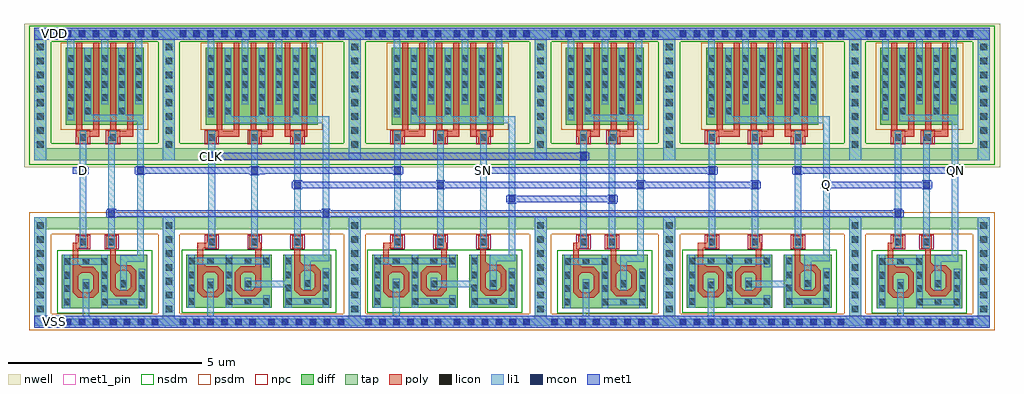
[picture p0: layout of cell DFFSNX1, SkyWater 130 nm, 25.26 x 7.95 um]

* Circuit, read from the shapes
.subckt DFFSNX1 CLK D Q QN SN VDD VSS
XM1 n1 D VSS VSS sky130_fd_pr__nfet_01v8 w=2.6 l=0.1464
XM2 n1 n2 n3 VSS sky130_fd_pr__nfet_01v8 w=2.56 l=0.1463
XM3 n4 CLK VSS VSS sky130_fd_pr__nfet_01v8 w=2.6 l=0.1464
XM4 n4 n3 n5 VSS sky130_fd_pr__nfet_01v8 w=2.52 l=0.1453
XM5 n5 n6 n2 VSS sky130_fd_pr__nfet_01v8 w=2.56 l=0.1459
XM6 n7 n3 VSS VSS sky130_fd_pr__nfet_01v8 w=2.6 l=0.1461
XM7 n7 n6 n8 VSS sky130_fd_pr__nfet_01v8 w=2.52 l=0.1453
XM8 n8 SN n9 VSS sky130_fd_pr__nfet_01v8 w=2.56 l=0.1459
XM9 n10 CLK VSS VSS sky130_fd_pr__nfet_01v8 w=2.6 l=0.1465
XM10 n10 n9 n6 VSS sky130_fd_pr__nfet_01v8 w=2.56 l=0.1461
XM11 n11 SN VSS VSS sky130_fd_pr__nfet_01v8 w=2.6 l=0.1464
XM12 n11 n6 n12 VSS sky130_fd_pr__nfet_01v8 w=2.52 l=0.1453
XM13 n12 QN Q VSS sky130_fd_pr__nfet_01v8 w=2.56 l=0.1459
XM14 n13 n2 VSS VSS sky130_fd_pr__nfet_01v8 w=2.6 l=0.1465
XM15 n13 Q QN VSS sky130_fd_pr__nfet_01v8 w=2.56 l=0.1461
XM16 n3 D VDD VDD sky130_fd_pr__pfet_01v8 w=2 l=0.15 m=2
XM17 n3 n2 VDD VDD sky130_fd_pr__pfet_01v8 w=2 l=0.15 m=2
XM18 n2 CLK VDD VDD sky130_fd_pr__pfet_01v8 w=2 l=0.15 m=2
XM19 n2 n3 VDD VDD sky130_fd_pr__pfet_01v8 w=2 l=0.15 m=2
XM20 n2 n6 VDD VDD sky130_fd_pr__pfet_01v8 w=2 l=0.15 m=2
XM21 n9 n3 VDD VDD sky130_fd_pr__pfet_01v8 w=2 l=0.15 m=2
XM22 n9 n6 VDD VDD sky130_fd_pr__pfet_01v8 w=2 l=0.15 m=2
XM23 n9 SN VDD VDD sky130_fd_pr__pfet_01v8 w=2 l=0.15 m=2
XM24 n6 CLK VDD VDD sky130_fd_pr__pfet_01v8 w=2 l=0.15 m=2
XM25 n6 n9 VDD VDD sky130_fd_pr__pfet_01v8 w=2 l=0.15 m=2
XM26 Q SN VDD VDD sky130_fd_pr__pfet_01v8 w=2 l=0.15 m=2
XM27 Q n6 VDD VDD sky130_fd_pr__pfet_01v8 w=2 l=0.15 m=2
XM28 Q QN VDD VDD sky130_fd_pr__pfet_01v8 w=2 l=0.15 m=2
XM29 QN n2 VDD VDD sky130_fd_pr__pfet_01v8 w=2 l=0.15 m=2
XM30 QN Q VDD VDD sky130_fd_pr__pfet_01v8 w=2 l=0.15 m=2
.ends

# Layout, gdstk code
import gdstk
lib = gdstk.Library(unit=1e-6, precision=1e-09)
def R(c, l, rs):  # rectangles x0, y0, x1, y1
    for r in rs: c.add(gdstk.rectangle(r[:2], r[2:], *l))
def A(c, l, x, y, w, h, nx, ny, dx, dy):  # array of equal rectangles
    R(c, l, [(x+i*dx, y+j*dy, x+i*dx+w, y+j*dy+h) for i in range(nx) for j in range(ny)])
def P(c, l, *ps):  # polygons
    for p in ps: c.add(gdstk.Polygon(p, *l))
nwell = (64, 20)
diff = (65, 20)
tap = (65, 44)
poly = (66, 20)
licon = (66, 44)
li1 = (67, 20)
mcon = (67, 44)
met1_pin = (68, 16)
met1 = (68, 20)
nsdm = (93, 44)
psdm = (94, 20)
npc = (95, 20)

dffsnx1 = lib.new_cell('DFFSNX1')
R(dffsnx1, nwell, [(-0.42,4.16,24.84,7.875)])
R(dffsnx1, diff, [(0.56,0.505,2.77,1.885), (13.51,0.505,15.72,1.885), (21.65,0.505,23.86,1.885), (3.785,0.515,5.995,1.895), (6.295,0.515,7.535,1.895), (8.595,0.515,10.805,1.895), (11.105,0.515,12.345,1.895), (16.735,0.515,18.945,1.895), (19.245,0.515,20.485,1.895), (0.655,5.25,2.675,7.25), (4.285,5.25,7.185,7.25), (9.095,5.25,11.995,7.25), (13.605,5.25,15.625,7.25), (17.235,5.25,20.135,7.25), (21.745,5.25,23.765,7.25)])
A(dffsnx1, tap, 3.175, 0.055, 0.31, 0.01, 3, 1, 4.81, 0)
A(dffsnx1, tap, 3.175, 0.235, 0.31, 2.315, 3, 1, 4.81, 0)
A(dffsnx1, tap, 3.175, 4.65, 0.31, 2.875, 3, 1, 4.81, 0)
R(dffsnx1, tap, [(-0.155,0.055,0.155,0.065), (16.125,0.055,16.435,0.065), (20.935,0.055,21.245,0.065), (24.265,0.055,24.575,0.065), (-0.155,0.065,24.575,0.235), (-0.155,0.235,0.155,2.55), (16.125,0.235,16.435,2.55), (20.935,0.235,21.245,2.55), (24.265,0.235,24.575,2.55), (-0.155,2.55,24.575,2.86), (-0.155,4.34,24.575,4.65), (-0.155,4.65,0.155,7.525), (16.125,4.65,16.435,7.525), (20.935,4.65,21.245,7.525), (24.265,4.65,24.575,7.525), (-0.155,7.525,24.575,7.695)])
A(dffsnx1, poly, 1.715, 2.055, 0.27, 0.33, 3, 1, 4.81, 0)
A(dffsnx1, poly, 4.305, 4.765, 0.27, 0.18, 3, 1, 1.11, 0)
A(dffsnx1, poly, 9.115, 4.765, 0.27, 0.18, 3, 1, 1.11, 0)
A(dffsnx1, poly, 17.255, 4.765, 0.27, 0.18, 3, 1, 1.11, 0)
A(dffsnx1, poly, 0.935, 5.095, 0.15, 2.285, 4, 1, 0.44, 0)
A(dffsnx1, poly, 4.565, 5.095, 0.15, 2.285, 6, 1, 0.44, 0)
A(dffsnx1, poly, 9.375, 5.095, 0.15, 2.285, 6, 1, 0.44, 0)
A(dffsnx1, poly, 13.885, 5.095, 0.15, 2.285, 4, 1, 0.44, 0)
A(dffsnx1, poly, 17.515, 5.095, 0.15, 2.285, 6, 1, 0.44, 0)
A(dffsnx1, poly, 22.025, 5.095, 0.15, 2.285, 4, 1, 0.44, 0)
R(dffsnx1, poly, [(0.99,0.775,1.37,0.925), (13.94,0.775,14.32,0.785), (22.08,0.775,22.46,0.785), (4.215,0.785,4.595,0.815), (9.025,0.785,9.405,0.82), (13.93,0.785,14.32,0.82), (17.165,0.785,17.545,0.815), (22.07,0.785,22.46,0.82), (1.96,0.815,2.34,0.965), (4.185,0.815,4.595,0.935), (14.91,0.815,15.29,0.965), (17.135,0.815,17.545,0.935), (23.05,0.815,23.43,0.965), (5.19,0.82,5.565,0.97), (8.99,0.82,9.405,0.825), (10,0.82,10.375,0.97), (13.895,0.82,14.32,0.825), (18.14,0.82,18.515,0.97), (22.035,0.82,22.46,0.825), (6.725,0.825,7.105,0.975), (8.985,0.825,9.405,0.935), (11.535,0.825,11.915,0.975), (13.89,0.825,14.32,0.925), (19.675,0.825,20.055,0.975), (22.03,0.825,22.46,0.925), (0.84,0.925,0.99,1.43), (1.37,0.925,1.52,1.43), (13.79,0.925,13.94,1.43), (14.32,0.925,14.47,1.43), (21.93,0.925,22.08,1.43), (22.46,0.925,22.61,1.43), (4.065,0.935,4.215,1.44), (4.595,0.935,4.745,1.44), (8.875,0.935,9.025,1.44), (9.405,0.935,9.555,1.44), (17.015,0.935,17.165,1.44), (17.545,0.935,17.695,1.44), (1.81,0.965,1.96,1.47), (2.34,0.965,2.49,1.47), (14.76,0.965,14.91,1.47), (15.29,0.965,15.44,1.47), (22.9,0.965,23.05,1.47), (23.43,0.965,23.58,1.47), (5.04,0.97,5.19,1.44), (5.565,0.97,5.715,1.44), (9.85,0.97,10,1.44), (10.375,0.97,10.525,1.44), (17.99,0.97,18.14,1.44), (18.515,0.97,18.665,1.44), (6.575,0.975,6.725,1.48), (7.105,0.975,7.255,1.48), (11.385,0.975,11.535,1.48), (11.915,0.975,12.065,1.48), (19.525,0.975,19.675,1.48), (20.055,0.975,20.205,1.48), (0.84,1.43,1.37,1.58), (13.79,1.43,14.32,1.58), (21.93,1.43,22.46,1.58), (4.065,1.44,4.595,1.59), (5.19,1.44,5.715,1.59), (8.875,1.44,9.405,1.59), (10,1.44,10.525,1.59), (17.015,1.44,17.545,1.59), (18.14,1.44,18.665,1.59), (1.81,1.47,2.34,1.62), (14.76,1.47,15.29,1.62), (22.9,1.47,23.43,1.62), (6.575,1.48,7.105,1.63), (11.385,1.48,11.915,1.63), (19.525,1.48,20.055,1.63), (0.84,1.58,0.99,2.055), (13.79,1.58,13.94,2.055), (21.93,1.58,22.08,2.055), (4.065,1.59,4.215,2.055), (5.565,1.59,5.715,2.055), (8.875,1.59,9.025,2.055), (10.375,1.59,10.525,2.055), (17.015,1.59,17.165,2.055), (18.515,1.59,18.665,2.055), (1.81,1.62,1.96,2.055), (14.76,1.62,14.91,2.055), (22.9,1.62,23.05,2.055), (6.575,1.63,6.725,2.055), (11.385,1.63,11.535,2.055), (19.525,1.63,19.675,2.055), (0.84,2.055,1.245,2.205), (4.065,2.055,4.575,2.205), (5.415,2.055,5.715,2.205), (8.875,2.055,9.385,2.205), (10.225,2.055,10.525,2.205), (13.79,2.055,14.195,2.205), (14.665,2.055,14.935,2.385), (17.015,2.055,17.525,2.205), (18.365,2.055,18.665,2.205), (19.475,2.055,19.745,2.385), (21.93,2.055,22.335,2.205), (22.805,2.055,23.075,2.385), (0.975,2.205,1.245,2.385), (4.305,2.205,4.575,2.385), (5.415,2.205,5.685,2.385), (9.115,2.205,9.385,2.385), (10.225,2.205,10.495,2.385), (13.925,2.205,14.195,2.385), (17.255,2.205,17.525,2.385), (18.365,2.205,18.635,2.385), (22.065,2.205,22.335,2.385), (0.975,4.765,1.245,4.945), (1.745,4.765,2.015,4.945), (13.925,4.765,14.195,4.945), (14.695,4.765,14.965,4.945), (22.065,4.765,22.335,4.945), (22.835,4.765,23.105,4.945), (0.935,4.945,1.525,5.095), (1.745,4.945,2.405,5.095), (4.305,4.945,5.155,5.095), (5.415,4.945,6.035,5.095), (6.325,4.945,6.915,5.095), (9.115,4.945,9.965,5.095), (10.225,4.945,10.845,5.095), (11.135,4.945,11.725,5.095), (13.885,4.945,14.475,5.095), (14.695,4.945,15.355,5.095), (17.255,4.945,18.105,5.095), (18.365,4.945,18.985,5.095), (19.275,4.945,19.865,5.095), (22.025,4.945,22.615,5.095), (22.835,4.945,23.495,5.095)])
P(dffsnx1, poly, [(0.99,1.66),(0.99,1.58),(1.07,1.58)],
  [(1.96,1.7),(1.96,1.62),(2.04,1.62)],
  [(1.37,1.58),(1.37,1.43),(1.52,1.43)],
  [(0.99,1.35),(0.99,1.43),(1.07,1.43)],
  [(1.29,1.43),(1.37,1.43),(1.37,1.35)],
  [(0.99,1.005),(0.99,0.925),(1.07,0.925)],
  [(1.29,0.925),(1.37,0.925),(1.37,1.005)],
  [(0.84,0.925),(0.99,0.925),(0.99,0.775)],
  [(1.37,0.775),(1.37,0.925),(1.52,0.925)],
  [(2.34,1.62),(2.34,1.47),(2.49,1.47)],
  [(1.96,1.39),(1.96,1.47),(2.04,1.47)],
  [(2.26,1.47),(2.34,1.47),(2.34,1.39)],
  [(1.96,1.045),(1.96,0.965),(2.04,0.965)],
  [(2.26,0.965),(2.34,0.965),(2.34,1.045)],
  [(1.81,0.965),(1.96,0.965),(1.96,0.815)],
  [(2.34,0.815),(2.34,0.965),(2.49,0.965)],
  [(4.215,1.67),(4.215,1.59),(4.295,1.59)],
  [(4.595,1.59),(4.595,1.44),(4.745,1.44)],
  [(4.215,1.36),(4.215,1.44),(4.295,1.44)],
  [(4.515,1.44),(4.595,1.44),(4.595,1.36)],
  [(4.215,1.015),(4.215,0.935),(4.295,0.935)],
  [(4.515,0.935),(4.595,0.935),(4.595,1.015)],
  [(4.065,0.935),(4.185,0.935),(4.185,0.815)],
  [(4.185,0.815),(4.215,0.815),(4.215,0.785)],
  [(4.595,0.785),(4.595,0.935),(4.745,0.935)],
  [(5.04,1.44),(5.19,1.44),(5.19,1.59)],
  [(5.19,1.36),(5.19,1.44),(5.27,1.44)],
  [(5.485,1.44),(5.565,1.44),(5.565,1.36)],
  [(5.19,1.05),(5.19,0.97),(5.27,0.97)],
  [(5.485,0.97),(5.565,0.97),(5.565,1.05)],
  [(5.04,0.97),(5.19,0.97),(5.19,0.82)],
  [(5.565,0.82),(5.565,0.97),(5.715,0.97)],
  [(6.725,1.71),(6.725,1.63),(6.805,1.63)],
  [(7.105,1.63),(7.105,1.48),(7.255,1.48)],
  [(6.725,1.4),(6.725,1.48),(6.805,1.48)],
  [(7.025,1.48),(7.105,1.48),(7.105,1.4)],
  [(6.725,1.055),(6.725,0.975),(6.805,0.975)],
  [(7.025,0.975),(7.105,0.975),(7.105,1.055)],
  [(6.575,0.975),(6.725,0.975),(6.725,0.825)],
  [(7.105,0.825),(7.105,0.975),(7.255,0.975)],
  [(9.025,1.67),(9.025,1.59),(9.105,1.59)],
  [(9.405,1.59),(9.405,1.44),(9.555,1.44)],
  [(9.025,1.36),(9.025,1.44),(9.105,1.44)],
  [(9.325,1.44),(9.405,1.44),(9.405,1.36)],
  [(9.025,1.015),(9.025,0.935),(9.105,0.935)],
  [(9.325,0.935),(9.405,0.935),(9.405,1.015)],
  [(8.875,0.935),(8.985,0.935),(8.985,0.825)],
  [(8.985,0.825),(8.99,0.825),(8.99,0.82)],
  [(8.99,0.82),(9.025,0.82),(9.025,0.785)],
  [(9.405,0.785),(9.405,0.935),(9.555,0.935)],
  [(9.85,1.44),(10,1.44),(10,1.59)],
  [(10,1.36),(10,1.44),(10.08,1.44)],
  [(10.295,1.44),(10.375,1.44),(10.375,1.36)],
  [(10,1.05),(10,0.97),(10.08,0.97)],
  [(10.295,0.97),(10.375,0.97),(10.375,1.05)],
  [(9.85,0.97),(10,0.97),(10,0.82)],
  [(10.375,0.82),(10.375,0.97),(10.525,0.97)],
  [(11.535,1.71),(11.535,1.63),(11.615,1.63)],
  [(11.915,1.63),(11.915,1.48),(12.065,1.48)],
  [(11.535,1.4),(11.535,1.48),(11.615,1.48)],
  [(11.835,1.48),(11.915,1.48),(11.915,1.4)],
  [(11.535,1.055),(11.535,0.975),(11.615,0.975)],
  [(11.835,0.975),(11.915,0.975),(11.915,1.055)],
  [(11.385,0.975),(11.535,0.975),(11.535,0.825)],
  [(11.915,0.825),(11.915,0.975),(12.065,0.975)],
  [(13.94,1.66),(13.94,1.58),(14.02,1.58)],
  [(14.91,1.7),(14.91,1.62),(14.99,1.62)],
  [(14.32,1.58),(14.32,1.43),(14.47,1.43)],
  [(13.94,1.35),(13.94,1.43),(14.02,1.43)],
  [(14.24,1.43),(14.32,1.43),(14.32,1.35)],
  [(13.94,1.005),(13.94,0.925),(14.02,0.925)],
  [(14.24,0.925),(14.32,0.925),(14.32,1.005)],
  [(13.79,0.925),(13.89,0.925),(13.89,0.825)],
  [(13.89,0.825),(13.895,0.825),(13.895,0.82)],
  [(13.895,0.82),(13.93,0.82),(13.93,0.785)],
  [(13.93,0.785),(13.94,0.785),(13.94,0.775)],
  [(14.32,0.775),(14.32,0.925),(14.47,0.925)],
  [(15.29,1.62),(15.29,1.47),(15.44,1.47)],
  [(14.91,1.39),(14.91,1.47),(14.99,1.47)],
  [(15.21,1.47),(15.29,1.47),(15.29,1.39)],
  [(14.91,1.045),(14.91,0.965),(14.99,0.965)],
  [(15.21,0.965),(15.29,0.965),(15.29,1.045)],
  [(14.76,0.965),(14.91,0.965),(14.91,0.815)],
  [(15.29,0.815),(15.29,0.965),(15.44,0.965)],
  [(17.165,1.67),(17.165,1.59),(17.245,1.59)],
  [(17.545,1.59),(17.545,1.44),(17.695,1.44)],
  [(17.165,1.36),(17.165,1.44),(17.245,1.44)],
  [(17.465,1.44),(17.545,1.44),(17.545,1.36)],
  [(17.165,1.015),(17.165,0.935),(17.245,0.935)],
  [(17.465,0.935),(17.545,0.935),(17.545,1.015)],
  [(17.015,0.935),(17.135,0.935),(17.135,0.815)],
  [(17.135,0.815),(17.165,0.815),(17.165,0.785)],
  [(17.545,0.785),(17.545,0.935),(17.695,0.935)],
  [(17.99,1.44),(18.14,1.44),(18.14,1.59)],
  [(18.14,1.36),(18.14,1.44),(18.22,1.44)],
  [(18.435,1.44),(18.515,1.44),(18.515,1.36)],
  [(18.14,1.05),(18.14,0.97),(18.22,0.97)],
  [(18.435,0.97),(18.515,0.97),(18.515,1.05)],
  [(17.99,0.97),(18.14,0.97),(18.14,0.82)],
  [(18.515,0.82),(18.515,0.97),(18.665,0.97)],
  [(19.675,1.71),(19.675,1.63),(19.755,1.63)],
  [(20.055,1.63),(20.055,1.48),(20.205,1.48)],
  [(19.675,1.4),(19.675,1.48),(19.755,1.48)],
  [(19.975,1.48),(20.055,1.48),(20.055,1.4)],
  [(19.675,1.055),(19.675,0.975),(19.755,0.975)],
  [(19.975,0.975),(20.055,0.975),(20.055,1.055)],
  [(19.525,0.975),(19.675,0.975),(19.675,0.825)],
  [(20.055,0.825),(20.055,0.975),(20.205,0.975)],
  [(22.08,1.66),(22.08,1.58),(22.16,1.58)],
  [(23.05,1.7),(23.05,1.62),(23.13,1.62)],
  [(22.46,1.58),(22.46,1.43),(22.61,1.43)],
  [(22.08,1.35),(22.08,1.43),(22.16,1.43)],
  [(22.38,1.43),(22.46,1.43),(22.46,1.35)],
  [(22.08,1.005),(22.08,0.925),(22.16,0.925)],
  [(22.38,0.925),(22.46,0.925),(22.46,1.005)],
  [(21.93,0.925),(22.03,0.925),(22.03,0.825)],
  [(22.03,0.825),(22.035,0.825),(22.035,0.82)],
  [(22.035,0.82),(22.07,0.82),(22.07,0.785)],
  [(22.07,0.785),(22.08,0.785),(22.08,0.775)],
  [(22.46,0.775),(22.46,0.925),(22.61,0.925)],
  [(23.43,1.62),(23.43,1.47),(23.58,1.47)],
  [(23.05,1.39),(23.05,1.47),(23.13,1.47)],
  [(23.35,1.47),(23.43,1.47),(23.43,1.39)],
  [(23.05,1.045),(23.05,0.965),(23.13,0.965)],
  [(23.35,0.965),(23.43,0.965),(23.43,1.045)],
  [(22.9,0.965),(23.05,0.965),(23.05,0.815)],
  [(23.43,0.815),(23.43,0.965),(23.58,0.965)])
A(dffsnx1, licon, 0.275, 0.065, 0.17, 0.17, 4, 2, 0.36, 7.46)
A(dffsnx1, licon, 1.805, 0.065, 0.17, 0.17, 4, 2, 0.36, 7.46)
A(dffsnx1, licon, 3.605, 0.065, 0.17, 0.17, 6, 2, 0.36, 7.46)
A(dffsnx1, licon, 5.895, 0.065, 0.17, 0.17, 6, 2, 0.36, 7.46)
A(dffsnx1, licon, 8.415, 0.065, 0.17, 0.17, 6, 2, 0.36, 7.46)
A(dffsnx1, licon, 10.705, 0.065, 0.17, 0.17, 6, 2, 0.36, 7.46)
A(dffsnx1, licon, 13.225, 0.065, 0.17, 0.17, 4, 2, 0.36, 7.46)
A(dffsnx1, licon, 14.755, 0.065, 0.17, 0.17, 4, 2, 0.36, 7.46)
A(dffsnx1, licon, 16.555, 0.065, 0.17, 0.17, 6, 2, 0.36, 7.46)
A(dffsnx1, licon, 18.845, 0.065, 0.17, 0.17, 6, 2, 0.36, 7.46)
A(dffsnx1, licon, 21.365, 0.065, 0.17, 0.17, 4, 2, 0.36, 7.46)
A(dffsnx1, licon, 22.895, 0.065, 0.17, 0.17, 4, 2, 0.36, 7.46)
A(dffsnx1, licon, -0.085, 0.4, 0.17, 0.17, 1, 7, 0, 0.36)
A(dffsnx1, licon, 3.245, 0.4, 0.17, 0.17, 3, 7, 4.81, 0.36)
A(dffsnx1, licon, 16.195, 0.4, 0.17, 0.17, 1, 7, 0, 0.36)
A(dffsnx1, licon, 21.005, 0.4, 0.17, 0.17, 1, 7, 0, 0.36)
A(dffsnx1, licon, 24.335, 0.4, 0.17, 0.17, 1, 7, 0, 0.36)
A(dffsnx1, licon, 1.58, 0.585, 0.17, 0.17, 3, 1, 0.485, 0)
A(dffsnx1, licon, 14.53, 0.585, 0.17, 0.17, 3, 1, 0.485, 0)
A(dffsnx1, licon, 22.67, 0.585, 0.17, 0.17, 3, 1, 0.485, 0)
A(dffsnx1, licon, 4.805, 0.595, 0.17, 0.17, 3, 1, 0.485, 0)
A(dffsnx1, licon, 6.345, 0.595, 0.17, 0.17, 3, 1, 0.485, 0)
A(dffsnx1, licon, 9.615, 0.595, 0.17, 0.17, 3, 1, 0.485, 0)
A(dffsnx1, licon, 11.155, 0.595, 0.17, 0.17, 3, 1, 0.485, 0)
A(dffsnx1, licon, 17.755, 0.595, 0.17, 0.17, 3, 1, 0.485, 0)
A(dffsnx1, licon, 19.295, 0.595, 0.17, 0.17, 3, 1, 0.485, 0)
A(dffsnx1, licon, 0.61, 0.935, 0.17, 0.17, 3, 2, 0.97, 0.34)
A(dffsnx1, licon, 13.56, 0.935, 0.17, 0.17, 3, 2, 0.97, 0.34)
A(dffsnx1, licon, 21.7, 0.935, 0.17, 0.17, 3, 2, 0.97, 0.34)
A(dffsnx1, licon, 0.61, 1.635, 0.17, 0.17, 3, 1, 0.485, 0)
A(dffsnx1, licon, 13.56, 1.635, 0.17, 0.17, 3, 1, 0.485, 0)
A(dffsnx1, licon, 21.7, 1.635, 0.17, 0.17, 3, 1, 0.485, 0)
A(dffsnx1, licon, 3.835, 1.645, 0.17, 0.17, 5, 1, 0.485, 0)
A(dffsnx1, licon, 8.645, 1.645, 0.17, 0.17, 5, 1, 0.485, 0)
A(dffsnx1, licon, 16.785, 1.645, 0.17, 0.17, 5, 1, 0.485, 0)
A(dffsnx1, licon, 4.355, 2.135, 0.17, 0.17, 3, 2, 1.11, 2.71)
A(dffsnx1, licon, 9.165, 2.135, 0.17, 0.17, 3, 2, 1.11, 2.71)
A(dffsnx1, licon, 17.305, 2.135, 0.17, 0.17, 3, 2, 1.11, 2.71)
A(dffsnx1, licon, -0.085, 4.66, 0.17, 0.17, 1, 8, 0, 0.36)
A(dffsnx1, licon, 3.245, 4.66, 0.17, 0.17, 3, 8, 4.81, 0.36)
A(dffsnx1, licon, 16.195, 4.66, 0.17, 0.17, 1, 8, 0, 0.36)
A(dffsnx1, licon, 21.005, 4.66, 0.17, 0.17, 1, 8, 0, 0.36)
A(dffsnx1, licon, 24.335, 4.66, 0.17, 0.17, 1, 8, 0, 0.36)
A(dffsnx1, licon, 4.775, 5.525, 0.17, 0.17, 3, 1, 0.88, 0)
A(dffsnx1, licon, 9.585, 5.525, 0.17, 0.17, 3, 1, 0.88, 0)
A(dffsnx1, licon, 17.725, 5.525, 0.17, 0.17, 3, 1, 0.88, 0)
A(dffsnx1, licon, 0.705, 5.87, 0.17, 0.17, 5, 4, 0.44, 0.34)
A(dffsnx1, licon, 4.335, 5.87, 0.17, 0.17, 7, 4, 0.44, 0.34)
A(dffsnx1, licon, 9.145, 5.87, 0.17, 0.17, 7, 4, 0.44, 0.34)
A(dffsnx1, licon, 13.655, 5.87, 0.17, 0.17, 5, 4, 0.44, 0.34)
A(dffsnx1, licon, 17.285, 5.87, 0.17, 0.17, 7, 4, 0.44, 0.34)
A(dffsnx1, licon, 21.795, 5.87, 0.17, 0.17, 5, 4, 0.44, 0.34)
R(dffsnx1, licon, [(0.61,0.585,0.78,0.755), (13.56,0.585,13.73,0.755), (21.7,0.585,21.87,0.755), (3.835,0.595,4.005,0.765), (8.645,0.595,8.815,0.765), (16.785,0.595,16.955,0.765), (3.835,0.945,4.005,1.115), (4.805,0.945,4.975,1.115), (6.345,0.945,6.515,1.115), (7.315,0.945,7.485,1.115), (8.645,0.945,8.815,1.115), (9.615,0.945,9.785,1.115), (11.155,0.945,11.325,1.115), (12.125,0.945,12.295,1.115), (16.785,0.945,16.955,1.115), (17.755,0.945,17.925,1.115), (19.295,0.945,19.465,1.115), (20.265,0.945,20.435,1.115), (1.095,1.01,1.265,1.18), (14.045,1.01,14.215,1.18), (22.185,1.01,22.355,1.18), (4.32,1.02,4.49,1.19), (9.13,1.02,9.3,1.19), (17.27,1.02,17.44,1.19), (5.295,1.05,5.465,1.22), (10.105,1.05,10.275,1.22), (18.245,1.05,18.415,1.22), (2.065,1.055,2.235,1.225), (15.015,1.055,15.185,1.225), (23.155,1.055,23.325,1.225), (6.83,1.065,7,1.235), (11.64,1.065,11.81,1.235), (19.78,1.065,19.95,1.235), (3.835,1.285,4.005,1.455), (4.805,1.285,4.975,1.455), (6.345,1.285,6.515,1.455), (7.315,1.285,7.485,1.455), (8.645,1.285,8.815,1.455), (9.615,1.285,9.785,1.455), (11.155,1.285,11.325,1.455), (12.125,1.285,12.295,1.455), (16.785,1.285,16.955,1.455), (17.755,1.285,17.925,1.455), (19.295,1.285,19.465,1.455), (20.265,1.285,20.435,1.455), (6.345,1.645,6.515,1.815), (11.155,1.645,11.325,1.815), (19.295,1.645,19.465,1.815), (1.025,2.135,1.195,2.305), (1.765,2.135,1.935,2.305), (13.975,2.135,14.145,2.305), (14.715,2.135,14.885,2.305), (22.115,2.135,22.285,2.305), (22.855,2.135,23.025,2.305), (1.025,4.845,1.195,5.015), (1.795,4.845,1.965,5.015), (13.975,4.845,14.145,5.015), (14.745,4.845,14.915,5.015), (22.115,4.845,22.285,5.015), (22.885,4.845,23.055,5.015), (0.705,5.525,0.875,5.695), (1.145,5.525,1.315,5.695), (2.025,5.525,2.195,5.695), (4.335,5.525,4.505,5.695), (9.145,5.525,9.315,5.695), (13.655,5.525,13.825,5.695), (14.095,5.525,14.265,5.695), (14.975,5.525,15.145,5.695), (17.285,5.525,17.455,5.695), (21.795,5.525,21.965,5.695), (22.235,5.525,22.405,5.695), (23.115,5.525,23.285,5.695)])
A(dffsnx1, li1, 3.175, 0.31, 0.31, 2.55, 3, 1, 4.81, 0)
A(dffsnx1, li1, 3.835, 1.815, 0.17, 0.08, 3, 1, 0.97, 0)
A(dffsnx1, li1, 8.645, 1.815, 0.17, 0.08, 3, 1, 0.97, 0)
A(dffsnx1, li1, 16.785, 1.815, 0.17, 0.08, 3, 1, 0.97, 0)
A(dffsnx1, li1, 4.355, 2.055, 0.17, 3.04, 3, 1, 1.11, 0)
A(dffsnx1, li1, 9.165, 2.055, 0.17, 3.04, 3, 1, 1.11, 0)
A(dffsnx1, li1, 17.305, 2.055, 0.17, 3.04, 3, 1, 1.11, 0)
A(dffsnx1, li1, 3.175, 4.34, 0.31, 3.12, 3, 1, 4.81, 0)
A(dffsnx1, li1, 4.775, 5.47, 0.17, 1.78, 3, 1, 0.88, 0)
A(dffsnx1, li1, 9.585, 5.47, 0.17, 1.78, 3, 1, 0.88, 0)
A(dffsnx1, li1, 17.725, 5.47, 0.17, 1.78, 3, 1, 0.88, 0)
A(dffsnx1, li1, 5.215, 5.785, 0.17, 1.675, 3, 1, 0.88, 0)
A(dffsnx1, li1, 10.025, 5.785, 0.17, 1.675, 3, 1, 0.88, 0)
A(dffsnx1, li1, 18.165, 5.785, 0.17, 1.675, 3, 1, 0.88, 0)
R(dffsnx1, li1, [(-0.155,0,24.575,0.31), (-0.155,0.31,0.155,2.86), (1.095,0.31,1.265,1.26), (4.32,0.31,4.49,1.27), (9.13,0.31,9.3,1.27), (14.045,0.31,14.215,1.26), (16.125,0.31,16.435,2.86), (17.27,0.31,17.44,1.27), (20.935,0.31,21.245,2.86), (22.185,0.31,22.355,1.26), (24.265,0.31,24.575,2.86), (0.61,0.505,0.78,1.635), (1.58,0.505,1.75,0.585), (2.55,0.505,2.72,0.585), (13.56,0.505,13.73,1.635), (14.53,0.505,14.7,0.585), (15.5,0.505,15.67,0.585), (21.7,0.505,21.87,1.635), (22.67,0.505,22.84,0.585), (23.64,0.505,23.81,0.585), (3.835,0.515,4.005,1.645), (4.805,0.515,4.975,0.595), (5.775,0.515,5.945,0.595), (6.345,0.515,6.515,0.595), (7.315,0.515,7.485,0.595), (8.645,0.515,8.815,1.645), (9.615,0.515,9.785,0.595), (10.585,0.515,10.755,0.595), (11.155,0.515,11.325,0.595), (12.125,0.515,12.295,0.595), (16.785,0.515,16.955,1.645), (17.755,0.515,17.925,0.595), (18.725,0.515,18.895,0.595), (19.295,0.515,19.465,0.595), (20.265,0.515,20.435,0.595), (1.58,0.585,2.72,0.755), (14.53,0.585,15.67,0.755), (22.67,0.585,23.81,0.755), (4.805,0.595,5.945,0.765), (6.345,0.595,7.485,0.765), (9.615,0.595,10.755,0.765), (11.155,0.595,12.295,0.765), (17.755,0.595,18.895,0.765), (19.295,0.595,20.435,0.765), (1.58,0.755,1.75,1.635), (2.55,0.755,2.72,1.525), (14.53,0.755,14.7,1.635), (15.5,0.755,15.67,1.525), (22.67,0.755,22.84,1.635), (23.64,0.755,23.81,1.525), (4.805,0.765,4.975,1.645), (5.775,0.765,5.945,0.845), (6.345,0.765,6.515,1.05), (7.315,0.765,7.485,1.535), (9.615,0.765,9.785,1.645), (10.585,0.765,10.755,0.845), (11.155,0.765,11.325,1.05), (12.125,0.765,12.295,1.535), (17.755,0.765,17.925,1.645), (18.725,0.765,18.895,0.845), (19.295,0.765,19.465,1.05), (20.265,0.765,20.435,1.535), (5.295,0.97,5.465,1.05), (10.105,0.97,10.275,1.05), (18.245,0.97,18.415,1.05), (2.065,0.975,2.235,1.71), (15.015,0.975,15.185,1.71), (23.155,0.975,23.325,1.71), (6.83,0.985,7,1.72), (11.64,0.985,11.81,1.72), (19.78,0.985,19.95,1.72), (5.295,1.05,6.515,1.22), (10.105,1.05,11.325,1.22), (18.245,1.05,19.465,1.22), (5.295,1.22,5.465,1.3), (6.345,1.22,6.515,1.895), (10.105,1.22,10.275,1.3), (11.155,1.22,11.325,1.895), (18.245,1.22,18.415,1.3), (19.295,1.22,19.465,1.895), (5.775,1.565,5.945,1.645), (10.585,1.565,10.755,1.645), (18.725,1.565,18.895,1.645), (0.61,1.635,1.75,1.805), (13.56,1.635,14.7,1.805), (21.7,1.635,22.84,1.805), (3.835,1.645,5.945,1.815), (8.645,1.645,10.755,1.815), (16.785,1.645,18.895,1.815), (2.065,1.71,2.675,1.88), (15.015,1.71,15.625,1.88), (23.155,1.71,23.765,1.88), (6.83,1.72,7.485,1.89), (11.64,1.72,12.295,1.89), (19.78,1.72,20.435,1.89), (0.61,1.805,0.78,1.885), (1.58,1.805,1.75,1.885), (13.56,1.805,13.73,1.885), (14.53,1.805,14.7,1.885), (21.7,1.805,21.87,1.885), (22.67,1.805,22.84,1.885), (2.505,1.88,2.675,5.345), (15.455,1.88,15.625,5.345), (23.595,1.88,23.765,5.345), (7.315,1.89,7.485,2.795), (12.125,1.89,12.295,5.3), (20.265,1.89,20.435,5.3), (1.025,2.055,1.195,5.095), (1.765,2.055,1.935,4.765), (13.975,2.055,14.145,5.095), (14.715,2.055,14.885,4.765), (22.115,2.055,22.285,5.095), (22.855,2.055,23.025,4.765), (7.31,2.795,7.485,3.125), (7.315,3.125,7.485,5.3), (-0.155,4.34,0.155,7.46), (16.125,4.34,16.435,7.46), (20.935,4.34,21.245,7.46), (24.265,4.34,24.575,7.46), (1.765,4.765,1.965,4.94), (14.715,4.765,14.915,4.94), (22.855,4.765,23.055,4.94), (1.795,4.94,1.965,5.095), (14.745,4.94,14.915,5.095), (22.885,4.94,23.055,5.095), (4.775,5.3,7.485,5.47), (9.585,5.3,12.295,5.47), (17.725,5.3,20.435,5.47), (1.145,5.345,2.675,5.515), (14.095,5.345,15.625,5.515), (22.235,5.345,23.765,5.515), (0.705,5.365,0.875,7.46), (13.655,5.365,13.825,7.46), (21.795,5.365,21.965,7.46), (4.335,5.445,4.505,7.46), (9.145,5.445,9.315,7.46), (17.285,5.445,17.455,7.46), (1.145,5.515,1.315,7.25), (2.025,5.515,2.195,7.25), (14.095,5.515,14.265,7.25), (14.975,5.515,15.145,7.25), (22.235,5.515,22.405,7.25), (23.115,5.515,23.285,7.25), (1.585,5.785,1.755,7.46), (2.465,5.785,2.635,7.46), (14.535,5.785,14.705,7.46), (15.415,5.785,15.585,7.46), (22.675,5.785,22.845,7.46), (23.555,5.785,23.725,7.46), (-0.155,7.46,24.575,7.77)])
A(dffsnx1, mcon, 0.275, 0.065, 0.17, 0.17, 4, 2, 0.36, 7.46)
A(dffsnx1, mcon, 1.805, 0.065, 0.17, 0.17, 4, 2, 0.36, 7.46)
A(dffsnx1, mcon, 3.605, 0.065, 0.17, 0.17, 6, 2, 0.36, 7.46)
A(dffsnx1, mcon, 5.895, 0.065, 0.17, 0.17, 6, 2, 0.36, 7.46)
A(dffsnx1, mcon, 8.415, 0.065, 0.17, 0.17, 6, 2, 0.36, 7.46)
A(dffsnx1, mcon, 10.705, 0.065, 0.17, 0.17, 6, 2, 0.36, 7.46)
A(dffsnx1, mcon, 13.225, 0.065, 0.17, 0.17, 4, 2, 0.36, 7.46)
A(dffsnx1, mcon, 14.755, 0.065, 0.17, 0.17, 4, 2, 0.36, 7.46)
A(dffsnx1, mcon, 16.555, 0.065, 0.17, 0.17, 6, 2, 0.36, 7.46)
A(dffsnx1, mcon, 18.845, 0.065, 0.17, 0.17, 6, 2, 0.36, 7.46)
A(dffsnx1, mcon, 21.365, 0.065, 0.17, 0.17, 4, 2, 0.36, 7.46)
A(dffsnx1, mcon, 22.895, 0.065, 0.17, 0.17, 4, 2, 0.36, 7.46)
R(dffsnx1, mcon, [(1.765,2.875,1.935,3.045), (7.31,2.875,7.48,3.045), (22.115,2.875,22.285,3.045), (12.125,3.245,12.295,3.415), (14.715,3.245,14.885,3.415), (6.575,3.615,6.745,3.785), (10.275,3.615,10.445,3.785), (15.455,3.615,15.625,3.785), (18.415,3.615,18.585,3.785), (20.265,3.615,20.435,3.785), (22.855,3.615,23.025,3.785), (5.465,3.98,5.635,4.15), (1.025,3.985,1.195,4.155), (2.505,3.985,2.675,4.155), (9.165,3.985,9.335,4.155), (11.385,3.985,11.555,4.155), (17.305,3.985,17.475,4.155), (19.525,3.985,19.695,4.155), (23.595,3.985,23.765,4.155), (4.355,4.355,4.525,4.525), (13.975,4.355,14.145,4.525)])
R(dffsnx1, met1_pin, [(0.275,0.065,0.445,0.235), (20.265,3.615,20.435,3.785), (1.025,3.985,1.195,4.155), (11.385,3.985,11.555,4.155), (23.595,3.985,23.765,4.155), (4.355,4.355,4.525,4.525), (0.275,7.525,0.445,7.695)])
R(dffsnx1, met1, [(-0.155,0,24.575,0.31), (1.735,2.845,1.965,2.875), (7.28,2.845,7.51,2.875), (22.085,2.845,22.315,2.875), (1.705,2.875,22.345,3.045), (1.735,3.045,1.965,3.075), (7.28,3.045,7.51,3.075), (22.085,3.045,22.315,3.075), (12.095,3.215,12.325,3.245), (14.685,3.215,14.915,3.245), (12.065,3.245,14.945,3.415), (12.095,3.415,12.325,3.445), (14.685,3.415,14.915,3.445), (6.545,3.585,6.775,3.615), (10.245,3.585,10.475,3.615), (15.425,3.585,15.655,3.615), (18.385,3.585,18.615,3.615), (20.235,3.585,20.465,3.615), (22.825,3.585,23.055,3.615), (6.515,3.615,18.645,3.785), (20.205,3.615,23.085,3.785), (6.545,3.785,6.775,3.815), (10.245,3.785,10.475,3.815), (15.425,3.785,15.655,3.815), (18.385,3.785,18.615,3.815), (20.235,3.785,20.465,3.815), (22.825,3.785,23.055,3.815), (5.435,3.95,5.665,3.98), (0.995,3.955,1.225,3.985), (2.475,3.955,2.705,3.985), (9.135,3.955,9.365,3.985), (11.355,3.955,11.585,3.985), (17.275,3.955,17.505,3.985), (19.495,3.955,19.725,3.985), (23.565,3.955,23.795,3.985), (5.405,3.98,5.815,3.985), (0.845,3.985,1.255,4.155), (2.445,3.985,9.395,4.155), (11.325,3.985,17.535,4.155), (19.465,3.985,23.825,4.155), (0.995,4.155,1.225,4.185), (2.475,4.155,2.705,4.185), (5.435,4.155,5.665,4.18), (9.135,4.155,9.365,4.185), (11.355,4.155,11.585,4.185), (17.275,4.155,17.505,4.185), (19.495,4.155,19.725,4.185), (23.565,4.155,23.795,4.185), (4.325,4.325,4.555,4.355), (13.945,4.325,14.175,4.355), (4.295,4.355,14.205,4.525), (4.325,4.525,4.555,4.555), (13.945,4.525,14.175,4.555), (-0.155,7.46,24.575,7.77)])
A(dffsnx1, nsdm, 3.05, 4.775, 0.56, 2.625, 3, 1, 4.81, 0)
R(dffsnx1, nsdm, [(0.435,0.38,2.895,2.01), (13.385,0.38,15.845,2.01), (21.525,0.38,23.985,2.01), (3.66,0.39,7.66,2.02), (8.47,0.39,12.47,2.02), (16.61,0.39,20.61,2.02), (-0.28,4.215,24.7,4.775), (-0.28,4.775,0.28,7.4), (16,4.775,16.56,7.4), (20.81,4.775,21.37,7.4), (24.14,4.775,24.7,7.4), (-0.28,7.4,24.7,7.82)])
A(dffsnx1, psdm, 3.05, -0.07, 0.56, 0.01, 3, 1, 4.81, 0)
A(dffsnx1, psdm, 3.05, 0.36, 0.56, 2.065, 3, 1, 4.81, 0)
R(dffsnx1, psdm, [(-0.28,-0.07,0.28,-0.06), (16,-0.07,16.56,-0.06), (20.81,-0.07,21.37,-0.06), (24.14,-0.07,24.7,-0.06), (-0.28,-0.06,24.7,0.36), (-0.28,0.36,0.28,2.425), (16,0.36,16.56,2.425), (20.81,0.36,21.37,2.425), (24.14,0.36,24.7,2.425), (-0.28,2.425,24.7,2.985), (0.53,5.125,2.8,7.375), (4.16,5.125,7.31,7.375), (8.97,5.125,12.12,7.375), (13.48,5.125,15.75,7.375), (17.11,5.125,20.26,7.375), (21.62,5.125,23.89,7.375)])
A(dffsnx1, npc, 4.255, 2.035, 0.37, 0.37, 3, 2, 1.11, 2.71)
A(dffsnx1, npc, 9.065, 2.035, 0.37, 0.37, 3, 2, 1.11, 2.71)
A(dffsnx1, npc, 17.205, 2.035, 0.37, 0.37, 3, 2, 1.11, 2.71)
R(dffsnx1, npc, [(0.925,2.035,1.295,2.405), (1.665,2.035,2.035,2.405), (13.875,2.035,14.245,2.405), (14.615,2.035,14.985,2.405), (22.015,2.035,22.385,2.405), (22.755,2.035,23.125,2.405), (0.925,4.745,1.295,5.115), (1.695,4.745,2.065,5.115), (13.875,4.745,14.245,5.115), (14.645,4.745,15.015,5.115), (22.015,4.745,22.385,5.115), (22.785,4.745,23.155,5.115)])
dffsnx1.add(gdstk.Label('Q', (20.35,3.7), layer=68, texttype=16))
dffsnx1.add(gdstk.Label('QN', (23.68,4.07), layer=68, texttype=16))
dffsnx1.add(gdstk.Label('D', (1.11,4.07), layer=68, texttype=16))
dffsnx1.add(gdstk.Label('CLK', (4.44,4.44), layer=68, texttype=16))
dffsnx1.add(gdstk.Label('SN', (11.47,4.07), layer=68, texttype=16))
dffsnx1.add(gdstk.Label('VDD', (0.36,7.61), layer=68, texttype=16))
dffsnx1.add(gdstk.Label('VSS', (0.36,0.15), layer=68, texttype=16))

lib.write_gds('DFFSNX1.gds')
